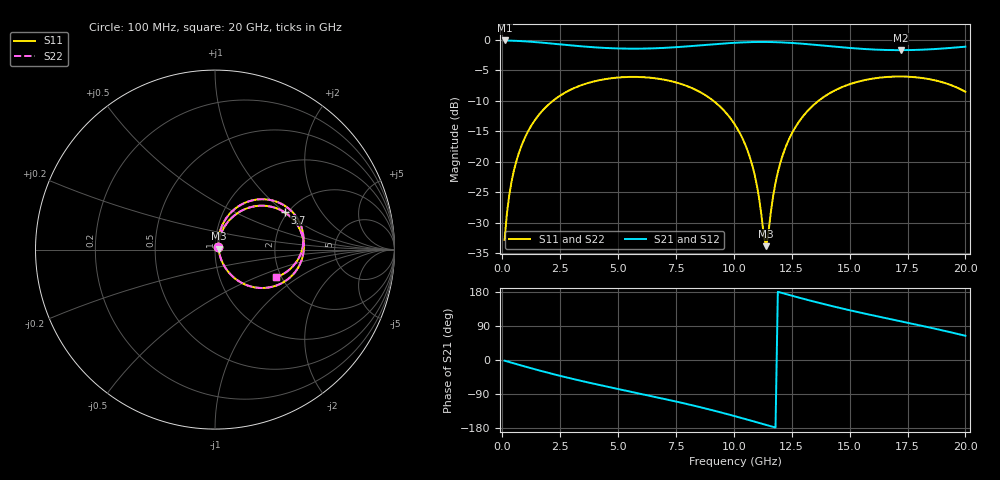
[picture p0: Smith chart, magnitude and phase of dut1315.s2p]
! Touchstone file exported from HFSS 2026.1.0
!  File:  C:/ffzhzh/LocalFiles/Ansys_Project_Files/temp_train_TSV_RDL_1315_1783335750_5512.aedt
!  Generated:  07:13:42 PM Jul  6, 2026
!  Design:  TSV_RDL
!  Project:  temp_train_TSV_RDL_1315_1783335750_5512
! Variables:
!  h_bsmrdl = 5.6um
!  h_ox = 20um
!  h_rdl = 5um
!  h_sub = 93.98um
!  h_tmrdl = 5.46um
!  h_tsv = 93.98um
!  h_via = 3um
!  l_bsmrdl = 563.31um
!  l_sub = 4861.6um
!  l_tmrdl = 660.33um
!  m_sub = 200um
!  pitch = 53.85um
!  r_tsv = 13.74um
!  s_tmrdl = 10um
!  w_bsmrdl = 25.51um
!  w_sub = 500um
!  w_tmrdl = 17.94um
!  x_tsv_center1 = 669.3um
!  x_tsv_center2 = 1258.12um
!  x_tsv_center3 = 1936.39um
!  x_tsv_center4 = 2525.21um
!  x_tsv_center5 = 3203.48um
!  x_tsv_center6 = 3792.3um
# GHz S MA R 50.000000
! Terminal data exported
! Port[1] = TM_RDL1_1_T1
! Port[2] = TM_RDL5_1_T1
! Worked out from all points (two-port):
!   200 points, 100 MHz to 20 GHz, reference 50 ohm
!   highest |S21| = -0.13 dB at 100 MHz (marker M1); lowest = -1.7 dB at 17.2 GHz (marker M2)
!   |S21| within 3 dB of the highest: start of sweep to end of sweep
!   lowest |S11| = -33.8 dB at 11.4 GHz (marker M3), VSWR 1.04, Z = 52 + j0.467 ohm
!   |S11| at or under -10 dB: start of sweep to 2.193 GHz; 9.109 GHz to 13.66 GHz (4.555 GHz wide, 40 % of centre)
!   |S22| runs from -33.8 to -6.0 dB; largest |S21 - S12| = 2.4e-14
!   S11 on the Smith chart (normalised r, x): 100 MHz: 1.03, +0.04; 3.7 GHz: 1.94, +1.00; 20 GHz: 1.88, -0.67
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0.1  0.02294 47.9  0.985 -1.8  0.985 -1.8  0.02294 47.9
! Gamma 0 0 0 0
! Port Impedance 50 0 50 0
0.3  0.05316 66.7  0.9825 -5.4  0.9825 -5.4  0.05316 66.7
0.5  0.08435 69.3  0.9795 -8.9  0.9795 -8.9  0.08435 69.3
1.1  0.1755 64.6  0.9657 -19.3  0.9657 -19.3  0.1755 64.6
2.1  0.3058 50.3  0.9306 -35.7  0.9306 -35.7  0.3058 50.3
3.5  0.4292 30.6  0.8792 -56.4  0.8792 -56.4  0.4292 30.6
3.7  0.4412 28.0  0.8732 -59.2  0.8732 -59.2  0.4413 28.0
5.3  0.4938 7.5  0.8445 -80.4  0.8445 -80.4  0.4938 7.5
6.8  0.4768 -11.3  0.8528 -99.9  0.8528 -99.9  0.4768 -11.2
8.8  0.3481 -37.9  0.9062 -128.3  0.9062 -128.3  0.3481 -37.8
10.1  0.1938 -55.5  0.9442 -149.1  0.9442 -149.1  0.1938 -55.4
10.8  0.09285 -60.5  0.9557 -161.0  0.9557 -161.0  0.09288 -60.4
11  0.06332 -57.8  0.9572 -164.5  0.9572 -164.5  0.06336 -57.7
11.4  0.02034 12.8  0.9574 -171.4  0.9574 -171.4  0.02042 12.7
11.7  0.05274 69.2  0.9551 -176.6  0.9551 -176.6  0.05276 69.1
12.1  0.1116 74.6  0.949 176.5  0.949 176.5  0.1116 74.6
12.6  0.1836 70.5  0.9371 168.1  0.9371 168.1  0.1836 70.5
13.4  0.2865 60.2  0.911 155.1  0.911 155.1  0.2865 60.1
14.9  0.4248 39.9  0.8582 132.7  0.8582 132.7  0.4248 39.9
16.7  0.496 17.2  0.8221 108.7  0.8221 108.7  0.496 17.2
17.2  0.4989 11.2  0.8204 102.2  0.8204 102.2  0.4989 11.2
20  0.374 -24.2  0.876 63.9  0.876 63.9  0.374 -24.2
